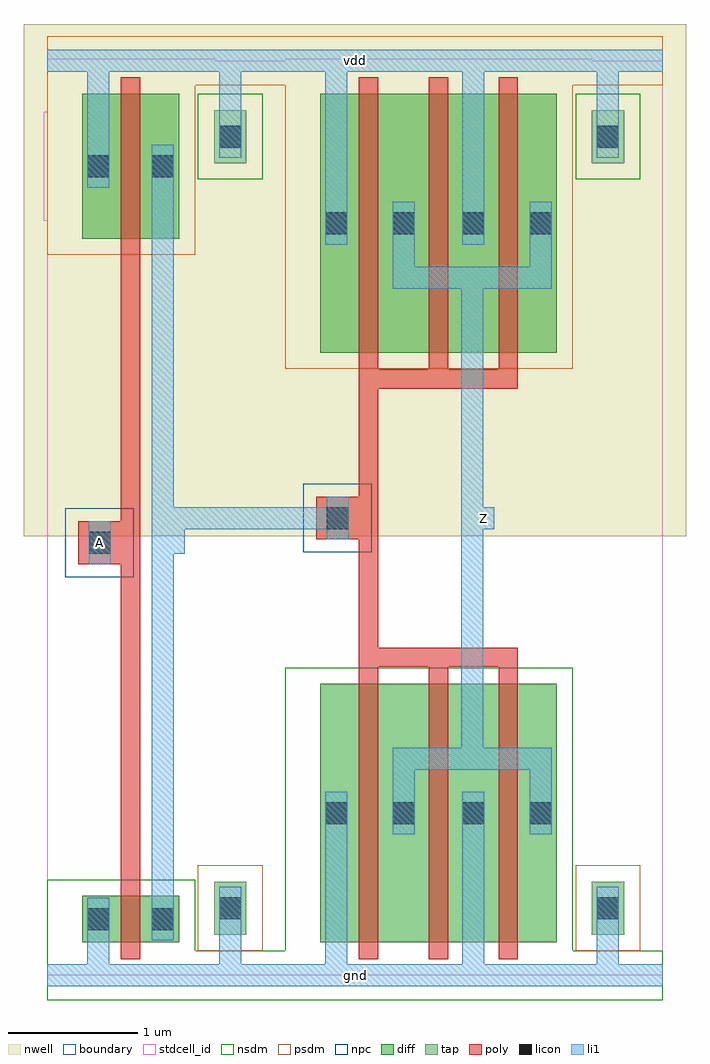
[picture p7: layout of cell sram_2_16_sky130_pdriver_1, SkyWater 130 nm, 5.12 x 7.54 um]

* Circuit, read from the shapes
.subckt sram_2_16_sky130_pdriver_1 A Z gnd vdd
XM1 sram_2_16_sky130_pinv_8_1/A A gnd gnd sky130_fd_pr__nfet_01v8 w=0.36 l=0.15
XM2 Z sram_2_16_sky130_pinv_8_1/A gnd gnd sky130_fd_pr__nfet_01v8 w=2 l=0.15 m=3
XM3 sram_2_16_sky130_pinv_8_1/A A vdd vdd sky130_fd_pr__pfet_01v8 w=1.12 l=0.15
XM4 Z sram_2_16_sky130_pinv_8_1/A vdd vdd sky130_fd_pr__pfet_01v8 w=2 l=0.15 m=3
.ends

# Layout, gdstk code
import gdstk
lib = gdstk.Library(unit=1e-6, precision=1e-09)
def R(c, l, rs):  # rectangles x0, y0, x1, y1
    for r in rs: c.add(gdstk.rectangle(r[:2], r[2:], *l))
def A(c, l, x, y, w, h, nx, ny, dx, dy):  # array of equal rectangles
    R(c, l, [(x+i*dx, y+j*dy, x+i*dx+w, y+j*dy+h) for i in range(nx) for j in range(ny)])
nwell = (64, 20)
diff = (65, 20)
tap = (65, 44)
poly = (66, 20)
licon = (66, 44)
li1 = (67, 20)
stdcell_id = (81, 4)
nsdm = (93, 44)
psdm = (94, 20)
npc = (95, 20)
boundary = (235, 4)

sram_2_16_sky130_contact = lib.new_cell('sram_2_16_sky130_contact_11')
R(sram_2_16_sky130_contact, nwell, [(-0.295,-0.255,0.545,0.585)])
R(sram_2_16_sky130_contact, diff, [(0,0.02,0.25,0.31)])
R(sram_2_16_sky130_contact, licon, [(0.04,0.08,0.21,0.25)])
R(sram_2_16_sky130_contact, li1, [(0.04,0,0.21,0.33)])
R(sram_2_16_sky130_contact, stdcell_id, [(-0.295,-0.255,0.545,0.585)])
R(sram_2_16_sky130_contact, psdm, [(-0.125,-0.105,0.375,0.435)])
R(sram_2_16_sky130_contact, boundary, [(-0.295,-0.255,0.545,0.585)])

sram_2_16_sky130_pmos_m1 = lib.new_cell('sram_2_16_sky130_pmos_m1_w1_120_sli_dli_da_p')
R(sram_2_16_sky130_pmos_m1, nwell, [(-0.27,-0.27,1.02,1.39)])
R(sram_2_16_sky130_pmos_m1, diff, [(0,0,0.75,1.12)])
R(sram_2_16_sky130_pmos_m1, poly, [(0.3,-0.13,0.45,1.25), (0.3,-0.13,0.45,1.25)])
R(sram_2_16_sky130_pmos_m1, li1, [(0.04,0.395,0.21,0.725), (0.54,0.395,0.71,0.725)])
R(sram_2_16_sky130_pmos_m1, stdcell_id, [(-0.27,-0.27,1.02,1.39)])
R(sram_2_16_sky130_pmos_m1, psdm, [(-0.125,-0.125,0.875,1.245)])
R(sram_2_16_sky130_pmos_m1, boundary, [(-0.27,-0.27,1.02,1.39)])
sram_2_16_sky130_pmos_m1.add(gdstk.Reference(sram_2_16_sky130_contact, (0,0.395)))
sram_2_16_sky130_pmos_m1.add(gdstk.Reference(sram_2_16_sky130_contact, (0.5,0.395)))
sram_2_16_sky130_pmos_m1.add(gdstk.Label('G', (0.375,0.56), layer=66, texttype=5))
sram_2_16_sky130_pmos_m1.add(gdstk.Label('S', (0.125,0.56), layer=67, texttype=5))
sram_2_16_sky130_pmos_m1.add(gdstk.Label('D', (0.625,0.56), layer=67, texttype=5))

c_sram_2_16_sky130_contact = lib.new_cell('sram_2_16_sky130_contact_10')
R(c_sram_2_16_sky130_contact, diff, [(0,0.02,0.25,0.31)])
R(c_sram_2_16_sky130_contact, licon, [(0.04,0.08,0.21,0.25)])
R(c_sram_2_16_sky130_contact, li1, [(0.04,0,0.21,0.33)])
R(c_sram_2_16_sky130_contact, stdcell_id, [(-0.125,-0.105,0.375,0.435)])
R(c_sram_2_16_sky130_contact, nsdm, [(-0.125,-0.105,0.375,0.435)])
R(c_sram_2_16_sky130_contact, boundary, [(-0.125,-0.105,0.375,0.435)])

sram_2_16_sky130_nmos_m1 = lib.new_cell('sram_2_16_sky130_nmos_m1_w0_360_sli_dli_da_p')
R(sram_2_16_sky130_nmos_m1, diff, [(0,0,0.75,0.36)])
R(sram_2_16_sky130_nmos_m1, poly, [(0.3,-0.13,0.45,0.49), (0.3,-0.13,0.45,0.49)])
R(sram_2_16_sky130_nmos_m1, li1, [(0.04,0.015,0.21,0.345), (0.54,0.015,0.71,0.345)])
R(sram_2_16_sky130_nmos_m1, stdcell_id, [(-0.125,-0.13,0.875,0.49)])
R(sram_2_16_sky130_nmos_m1, nsdm, [(-0.125,-0.125,0.875,0.485)])
R(sram_2_16_sky130_nmos_m1, boundary, [(-0.125,-0.13,0.875,0.49)])
sram_2_16_sky130_nmos_m1.add(gdstk.Reference(c_sram_2_16_sky130_contact, (0,0.015)))
sram_2_16_sky130_nmos_m1.add(gdstk.Reference(c_sram_2_16_sky130_contact, (0.5,0.015)))
sram_2_16_sky130_nmos_m1.add(gdstk.Label('G', (0.375,0.18), layer=66, texttype=5))
sram_2_16_sky130_nmos_m1.add(gdstk.Label('S', (0.125,0.18), layer=67, texttype=5))
sram_2_16_sky130_nmos_m1.add(gdstk.Label('D', (0.625,0.18), layer=67, texttype=5))

c_sram_2_16_sky130_contact_ = lib.new_cell('sram_2_16_sky130_contact_22')
R(c_sram_2_16_sky130_contact_, nwell, [(-0.295,-0.215,0.545,0.625)])
R(c_sram_2_16_sky130_contact_, tap, [(0,0,0.25,0.41)])
R(c_sram_2_16_sky130_contact_, licon, [(0.04,0.12,0.21,0.29)])
R(c_sram_2_16_sky130_contact_, li1, [(0.04,0.04,0.21,0.37)])
R(c_sram_2_16_sky130_contact_, stdcell_id, [(-0.295,-0.215,0.545,0.625)])
R(c_sram_2_16_sky130_contact_, nsdm, [(-0.125,-0.125,0.375,0.535)])
R(c_sram_2_16_sky130_contact_, boundary, [(-0.295,-0.215,0.545,0.625)])

c_sram_2_16_sky130_contact__ = lib.new_cell('sram_2_16_sky130_contact_23')
R(c_sram_2_16_sky130_contact__, tap, [(0,0,0.25,0.41)])
R(c_sram_2_16_sky130_contact__, licon, [(0.04,0.12,0.21,0.29)])
R(c_sram_2_16_sky130_contact__, li1, [(0.04,0.04,0.21,0.37)])
R(c_sram_2_16_sky130_contact__, stdcell_id, [(-0.125,-0.125,0.375,0.535)])
R(c_sram_2_16_sky130_contact__, psdm, [(-0.125,-0.125,0.375,0.535)])
R(c_sram_2_16_sky130_contact__, boundary, [(-0.125,-0.125,0.375,0.535)])

c_sram_2_16_sky130_contact___ = lib.new_cell('sram_2_16_sky130_contact_15')
R(c_sram_2_16_sky130_contact___, poly, [(0,0,0.33,0.33)])
R(c_sram_2_16_sky130_contact___, licon, [(0.08,0.08,0.25,0.25)])
R(c_sram_2_16_sky130_contact___, li1, [(0.08,0,0.25,0.33)])
R(c_sram_2_16_sky130_contact___, stdcell_id, [(-0.1,-0.1,0.43,0.43)])
R(c_sram_2_16_sky130_contact___, npc, [(-0.1,-0.1,0.43,0.43)])
R(c_sram_2_16_sky130_contact___, boundary, [(-0.1,-0.1,0.43,0.43)])

sram_2_16_sky130_pinv_4 = lib.new_cell('sram_2_16_sky130_pinv_4')
R(sram_2_16_sky130_pinv_4, nwell, [(-0.18,3.395,2.02,7.355)])
R(sram_2_16_sky130_pinv_4, poly, [(0.57,0.745,0.72,5.565), (0.405,3.18,0.57,3.51)])
R(sram_2_16_sky130_pinv_4, li1, [(0,-0.085,1.84,0.085), (0.31,-0.085,0.48,0.27), (1.33,0,1.5,0.52), (0.81,0.27,0.98,6.42), (0.32,3.18,0.49,3.51), (0.895,3.26,1.065,3.43), (0.31,6.09,0.48,7.155), (1.33,6.485,1.5,7.07), (0,6.985,1.84,7.155)])
R(sram_2_16_sky130_pinv_4, stdcell_id, [(0,0,1.84,7.07), (0,0,1.84,7.07)])
R(sram_2_16_sky130_pinv_4, nsdm, [(0,-0.19,1.84,0.19), (0,0,1.145,0.74)])
R(sram_2_16_sky130_pinv_4, psdm, [(0,5.57,1.145,7.07), (0,6.88,1.84,7.26)])
R(sram_2_16_sky130_pinv_4, boundary, [(0,0,1.84,7.07), (0,0,1.84,7.07)])
sram_2_16_sky130_pinv_4.add(gdstk.Reference(sram_2_16_sky130_pmos_m1, (0.27,5.695)))
sram_2_16_sky130_pinv_4.add(gdstk.Reference(sram_2_16_sky130_nmos_m1, (0.27,0.255)))
sram_2_16_sky130_pinv_4.add(gdstk.Reference(c_sram_2_16_sky130_contact_, (1.29,6.28)))
sram_2_16_sky130_pinv_4.add(gdstk.Reference(c_sram_2_16_sky130_contact__, (1.29,0.315)))
sram_2_16_sky130_pinv_4.add(gdstk.Reference(c_sram_2_16_sky130_contact___, (0.24,3.18)))
sram_2_16_sky130_pinv_4.add(gdstk.Label('A', (0.405,3.345), layer=67, texttype=5))
sram_2_16_sky130_pinv_4.add(gdstk.Label('Z', (0.98,3.345), layer=67, texttype=5))
sram_2_16_sky130_pinv_4.add(gdstk.Label('gnd', (0.92,0), layer=67, texttype=5))
sram_2_16_sky130_pinv_4.add(gdstk.Label('vdd', (0.92,7.07), layer=67, texttype=5))

sram_2_16_sky130_pmos_m3 = lib.new_cell('sram_2_16_sky130_pmos_m3_w2_000_sli_dli_da_p')
R(sram_2_16_sky130_pmos_m3, nwell, [(-0.27,-0.27,2.1,2.27)])
R(sram_2_16_sky130_pmos_m3, diff, [(0,0,1.83,2)])
A(sram_2_16_sky130_pmos_m3, poly, 0.3, -0.13, 0.15, 2.26, 3, 1, 0.54, 0)
R(sram_2_16_sky130_pmos_m3, poly, [(0.3,-0.28,1.53,-0.13)])
R(sram_2_16_sky130_pmos_m3, li1, [(0.56,0.495,1.79,0.665), (0.56,0.58,0.73,1), (1.62,0.58,1.79,1), (0.04,0.835,0.21,1.165), (1.1,0.835,1.27,1.165)])
R(sram_2_16_sky130_pmos_m3, stdcell_id, [(-0.27,-0.28,2.1,2.27)])
R(sram_2_16_sky130_pmos_m3, psdm, [(-0.125,-0.125,1.955,2.125)])
R(sram_2_16_sky130_pmos_m3, boundary, [(-0.27,-0.28,2.1,2.27)])
sram_2_16_sky130_pmos_m3.add(gdstk.Reference(sram_2_16_sky130_contact, (0,0.835)))
sram_2_16_sky130_pmos_m3.add(gdstk.Reference(sram_2_16_sky130_contact, (0.52,0.835)))
sram_2_16_sky130_pmos_m3.add(gdstk.Reference(sram_2_16_sky130_contact, (1.06,0.835)))
sram_2_16_sky130_pmos_m3.add(gdstk.Reference(sram_2_16_sky130_contact, (1.58,0.835)))
sram_2_16_sky130_pmos_m3.add(gdstk.Label('G', (0.915,-0.205), layer=66, texttype=5))
sram_2_16_sky130_pmos_m3.add(gdstk.Label('S', (0.125,1), layer=67, texttype=5))
sram_2_16_sky130_pmos_m3.add(gdstk.Label('S', (1.185,1), layer=67, texttype=5))
sram_2_16_sky130_pmos_m3.add(gdstk.Label('D', (1.175,0.58), layer=67, texttype=5))

sram_2_16_sky130_nmos_m3 = lib.new_cell('sram_2_16_sky130_nmos_m3_w2_000_sli_dli_da_p')
R(sram_2_16_sky130_nmos_m3, diff, [(0,0,1.83,2)])
A(sram_2_16_sky130_nmos_m3, poly, 0.3, -0.13, 0.15, 2.26, 3, 1, 0.54, 0)
R(sram_2_16_sky130_nmos_m3, poly, [(0.3,2.13,1.53,2.28)])
R(sram_2_16_sky130_nmos_m3, li1, [(0.04,0.835,0.21,1.165), (1.1,0.835,1.27,1.165), (0.56,1,0.73,1.42), (1.62,1,1.79,1.42), (0.56,1.335,1.79,1.505)])
R(sram_2_16_sky130_nmos_m3, stdcell_id, [(-0.125,-0.13,1.955,2.28)])
R(sram_2_16_sky130_nmos_m3, nsdm, [(-0.125,-0.125,1.955,2.125)])
R(sram_2_16_sky130_nmos_m3, boundary, [(-0.125,-0.13,1.955,2.28)])
sram_2_16_sky130_nmos_m3.add(gdstk.Reference(c_sram_2_16_sky130_contact, (0,0.835)))
sram_2_16_sky130_nmos_m3.add(gdstk.Reference(c_sram_2_16_sky130_contact, (0.52,0.835)))
sram_2_16_sky130_nmos_m3.add(gdstk.Reference(c_sram_2_16_sky130_contact, (1.06,0.835)))
sram_2_16_sky130_nmos_m3.add(gdstk.Reference(c_sram_2_16_sky130_contact, (1.58,0.835)))
sram_2_16_sky130_nmos_m3.add(gdstk.Label('G', (0.915,2.205), layer=66, texttype=5))
sram_2_16_sky130_nmos_m3.add(gdstk.Label('S', (0.125,1), layer=67, texttype=5))
sram_2_16_sky130_nmos_m3.add(gdstk.Label('S', (1.185,1), layer=67, texttype=5))
sram_2_16_sky130_nmos_m3.add(gdstk.Label('D', (1.175,1.42), layer=67, texttype=5))

sram_2_16_sky130_pinv_8 = lib.new_cell('sram_2_16_sky130_pinv_8')
R(sram_2_16_sky130_pinv_8, nwell, [(-0.18,3.395,3.1,7.355)])
R(sram_2_16_sky130_pinv_8, poly, [(0.57,2.535,0.72,4.535), (0.405,3.37,0.57,3.7)])
R(sram_2_16_sky130_pinv_8, li1, [(0,-0.085,2.92,0.085), (0.31,-0.085,0.48,1.09), (1.37,-0.085,1.54,1.09), (2.41,0,2.58,0.52), (1.36,1.59,1.53,5.48), (0.32,3.37,0.49,3.7), (1.445,3.45,1.615,3.62), (0.31,5.65,0.48,7.155), (1.37,5.65,1.54,7.155), (2.41,6.485,2.58,7.07), (0,6.985,2.92,7.155)])
R(sram_2_16_sky130_pinv_8, stdcell_id, [(0,0,2.92,7.07), (0,0,2.92,7.07)])
R(sram_2_16_sky130_pinv_8, nsdm, [(0,-0.19,2.92,0.19), (0,0,2.225,2.38)])
R(sram_2_16_sky130_pinv_8, psdm, [(0,4.69,2.225,7.07), (0,6.88,2.92,7.26)])
R(sram_2_16_sky130_pinv_8, boundary, [(0,0,2.92,7.07), (0,0,2.92,7.07)])
sram_2_16_sky130_pinv_8.add(gdstk.Reference(sram_2_16_sky130_pmos_m3, (0.27,4.815)))
sram_2_16_sky130_pinv_8.add(gdstk.Reference(sram_2_16_sky130_nmos_m3, (0.27,0.255)))
sram_2_16_sky130_pinv_8.add(gdstk.Reference(c_sram_2_16_sky130_contact_, (2.37,6.28)))
sram_2_16_sky130_pinv_8.add(gdstk.Reference(c_sram_2_16_sky130_contact__, (2.37,0.315)))
sram_2_16_sky130_pinv_8.add(gdstk.Reference(c_sram_2_16_sky130_contact___, (0.24,3.37)))
sram_2_16_sky130_pinv_8.add(gdstk.Label('A', (0.405,3.535), layer=67, texttype=5))
sram_2_16_sky130_pinv_8.add(gdstk.Label('Z', (1.53,3.535), layer=67, texttype=5))
sram_2_16_sky130_pinv_8.add(gdstk.Label('gnd', (1.46,0), layer=67, texttype=5))
sram_2_16_sky130_pinv_8.add(gdstk.Label('vdd', (1.46,7.07), layer=67, texttype=5))

sram_2_16_sky130_pdriver = lib.new_cell('sram_2_16_sky130_pdriver_1')
R(sram_2_16_sky130_pdriver, nwell, [(-0.18,3.395,4.94,7.355)])
R(sram_2_16_sky130_pdriver, li1, [(0,-0.085,4.76,0.085), (0.32,3.18,0.49,3.51), (0.895,3.345,1.065,3.535), (0.895,3.45,1.065,3.62), (0.98,3.45,2.245,3.62), (3.285,3.45,3.455,3.62), (0,6.985,4.76,7.155)])
R(sram_2_16_sky130_pdriver, stdcell_id, [(0,0,4.76,7.07), (0,0,4.76,7.07)])
R(sram_2_16_sky130_pdriver, nsdm, [(0,-0.19,4.76,0.19)])
R(sram_2_16_sky130_pdriver, psdm, [(0,6.88,4.76,7.26)])
R(sram_2_16_sky130_pdriver, boundary, [(0,0,4.76,7.07), (0,0,4.76,7.07)])
sram_2_16_sky130_pdriver.add(gdstk.Reference(sram_2_16_sky130_pinv_4, (0,0)))
sram_2_16_sky130_pdriver.add(gdstk.Reference(sram_2_16_sky130_pinv_8, (1.84,0)))
sram_2_16_sky130_pdriver.add(gdstk.Label('Z', (3.37,3.535), layer=67, texttype=5))
sram_2_16_sky130_pdriver.add(gdstk.Label('A', (0.405,3.345), layer=67, texttype=5))
sram_2_16_sky130_pdriver.add(gdstk.Label('gnd', (2.38,0), layer=67, texttype=5))
sram_2_16_sky130_pdriver.add(gdstk.Label('vdd', (2.38,7.07), layer=67, texttype=5))

lib.write_gds('sram_2_16_sky130_pdriver_1.gds')
